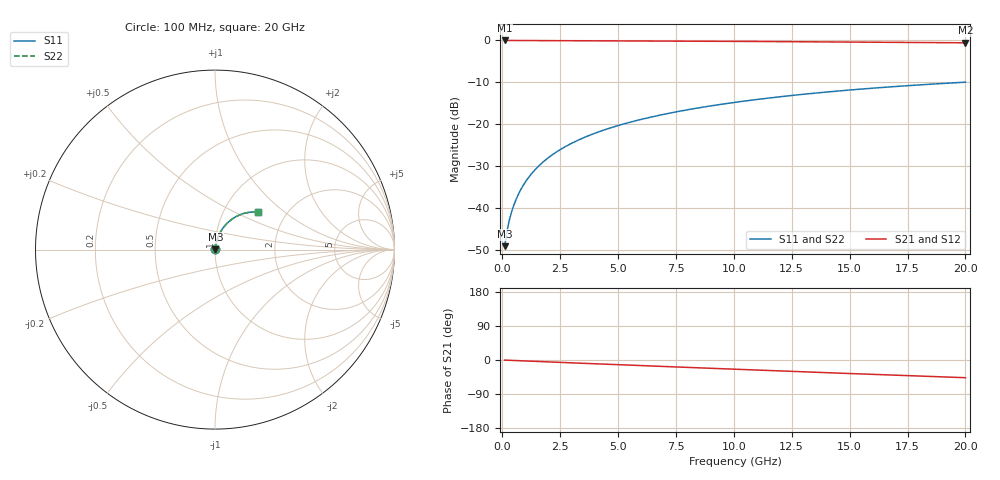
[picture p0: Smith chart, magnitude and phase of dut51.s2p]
! Touchstone file exported from HFSS 2026.1.0
!  File:  C:/ffzhzh/LocalFiles/Ansys_Project_Files/temp_train_TMRDL_51_1782880827_42304.aedt
!  Generated:  12:41:49 PM Jul  1, 2026
!  Design:  TMRDL
!  Project:  temp_train_TMRDL_51_1782880827_42304
! Variables:
!  h_bsmrdl = 2um
!  h_ox = 20um
!  h_rdl = 5um
!  h_sub = 80um
!  h_tmrdl = 4.91um
!  h_tsv = 80um
!  h_via = 3um
!  l_bsmrdl = 300um
!  l_sub = 1158.84um
!  l_tmrdl = 758.84um
!  m_sub = 200um
!  pitch = 40.11um
!  r_tsv = 6um
!  s_tmrdl = 10um
!  w_bsmrdl = 18um
!  w_sub = 500um
!  w_tmrdl = 22.18um
!  x_tsv_center1 = 769.93um
!  x_tsv_center2 = 1087.93um
!  x_tsv_center3 = 1868.95um
!  x_tsv_center4 = 2186.95um
!  x_tsv_center5 = 2967.97um
!  x_tsv_center6 = 3285.97um
# GHz S MA R 50.000000
! Terminal data exported
! Port[1] = TM_RDL1_1_T1
! Port[2] = TM_RDL1_1_T2
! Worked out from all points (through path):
!   200 points, 100 MHz to 20 GHz, reference 50 ohm
!   highest |S21| = -0.02 dB at 100 MHz (marker M1); lowest = -0.6 dB at 20 GHz (marker M2)
!   group delay of S21, straight-line fit = 6.48 ps
!   lowest |S11| = -49.1 dB at 100 MHz (marker M3), VSWR 1.01, Z = 50.3 + j0.23 ohm
!   |S11| at or under -10 dB: start of sweep to 19.9 GHz
!   |S22| runs from -49.1 to -10.0 dB; largest |S21 - S12| = 1.3e-14
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0.1  0.003525 40.5  0.9973 -0.3  0.9973 -0.3  0.003525 40.5
! Gamma 0 0 0 0
! Port Impedance 50 0 50 0
0.2  0.005291 56.4  0.9971 -0.5  0.9971 -0.5  0.005291 56.4
0.3  0.007138 63.8  0.9969 -0.8  0.9969 -0.8  0.007138 63.8
0.4  0.009004 68.2  0.9968 -1.0  0.9968 -1.0  0.009004 68.2
0.5  0.01089 71.2  0.9967 -1.3  0.9967 -1.3  0.01089 71.2
0.6  0.0128 73.3  0.9966 -1.5  0.9966 -1.5  0.0128 73.3
0.8  0.01667 76.0  0.9964 -2.0  0.9964 -2.0  0.01667 76.0
1.1  0.02254 78.0  0.9961 -2.8  0.9961 -2.8  0.02254 77.9
1.3  0.02646 78.6  0.9959 -3.3  0.9959 -3.3  0.02646 78.6
1.6  0.03235 79.0  0.9955 -4.0  0.9955 -4.0  0.03235 78.9
2.1  0.04212 78.8  0.9948 -5.3  0.9948 -5.3  0.04212 78.8
2.7  0.0537 78.0  0.9937 -6.8  0.9937 -6.8  0.0537 78.0
3.5  0.06888 76.6  0.992 -8.7  0.992 -8.7  0.06888 76.6
4.2  0.0819 75.2  0.9904 -10.4  0.9904 -10.4  0.0819 75.2
5  0.0965 73.5  0.9883 -12.4  0.9883 -12.4  0.0965 73.5
5.9  0.1126 71.5  0.9859 -14.5  0.9859 -14.5  0.1126 71.5
6.8  0.1284 69.6  0.9833 -16.7  0.9833 -16.7  0.1284 69.5
8.3  0.1539 66.3  0.9788 -20.2  0.9788 -20.2  0.1539 66.3
10.1  0.1833 62.4  0.9728 -24.5  0.9728 -24.5  0.1833 62.3
13.4  0.2335 55.2  0.9609 -32.1  0.9609 -32.1  0.2335 55.1
16.7  0.2784 48.1  0.9481 -39.5  0.9481 -39.5  0.2784 48.0
20  0.3173 41.1  0.9353 -46.7  0.9353 -46.7  0.3174 41.0
